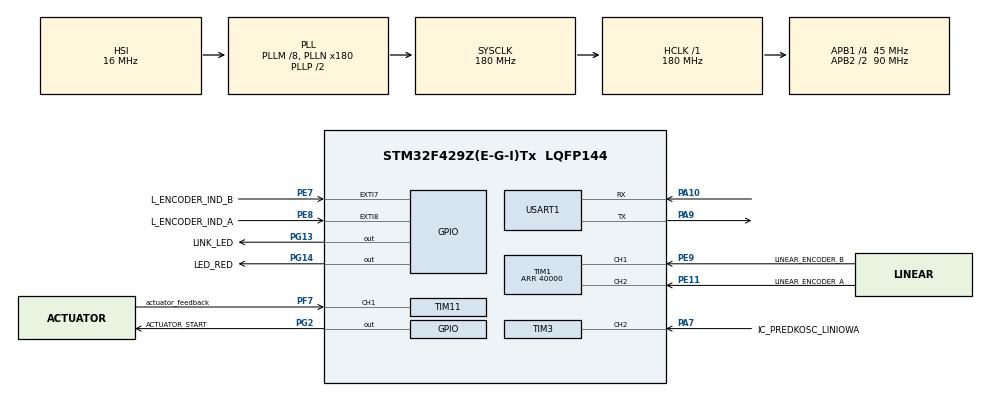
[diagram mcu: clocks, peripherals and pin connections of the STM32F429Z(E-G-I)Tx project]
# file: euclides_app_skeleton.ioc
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Dma.Request0=USART1_TX
Dma.Request1=USART1_RX
Dma.USART1_RX.1.Direction=DMA_PERIPH_TO_MEMORY
Dma.USART1_RX.1.FIFOMode=DMA_FIFOMODE_DISABLE
Dma.USART1_RX.1.Instance=DMA2_Stream2
Dma.USART1_RX.1.MemDataAlignment=DMA_MDATAALIGN_BYTE
Dma.USART1_RX.1.MemInc=DMA_MINC_ENABLE
Dma.USART1_RX.1.Mode=DMA_NORMAL
Dma.USART1_RX.1.PeriphDataAlignment=DMA_PDATAALIGN_BYTE
Dma.USART1_RX.1.PeriphInc=DMA_PINC_DISABLE
Dma.USART1_RX.1.Priority=DMA_PRIORITY_LOW
Dma.USART1_TX.0.Direction=DMA_MEMORY_TO_PERIPH
Dma.USART1_TX.0.FIFOMode=DMA_FIFOMODE_DISABLE
Dma.USART1_TX.0.Instance=DMA2_Stream7
Dma.USART1_TX.0.MemDataAlignment=DMA_MDATAALIGN_BYTE
Dma.USART1_TX.0.MemInc=DMA_MINC_ENABLE
Dma.USART1_TX.0.Mode=DMA_NORMAL
Dma.USART1_TX.0.PeriphDataAlignment=DMA_PDATAALIGN_BYTE
Dma.USART1_TX.0.PeriphInc=DMA_PINC_DISABLE
Dma.USART1_TX.0.Priority=DMA_PRIORITY_LOW
FREERTOS.Tasks01=ModbusTask,0,512,modbus_task,Default,NULL,Dynamic,NULL,NULL;MainApp,0,512,main_app,Default,NULL,Dynamic,NULL,NULL
Mcu.Family=STM32F4
Mcu.Name=STM32F429Z(E-G-I)Tx
Mcu.Package=LQFP144
NVIC.DMA2_Stream2_IRQn=true\:5\:0\:false\:false\:true\:true
NVIC.DMA2_Stream7_IRQn=true\:5\:0\:false\:false\:true\:true
NVIC.EXTI9_5_IRQn=true\:5\:0\:false\:false\:true\:true
NVIC.PriorityGroup=NVIC_PRIORITYGROUP_4
NVIC.TIM1_BRK_TIM9_IRQn=true\:5\:0\:false\:false\:true\:true
NVIC.TIM1_TRG_COM_TIM11_IRQn=true\:5\:0\:false\:false\:true\:true
NVIC.TIM1_UP_TIM10_IRQn=true\:5\:0\:false\:false\:true\:true
NVIC.TIM2_IRQn=true\:5\:0\:false\:false\:true\:true
NVIC.TIM3_IRQn=true\:5\:0\:false\:false\:true\:true
NVIC.TIM5_IRQn=true\:5\:0\:false\:false\:true\:true
NVIC.TIM8_TRG_COM_TIM14_IRQn=true\:0\:0\:false\:false\:true\:false
NVIC.TimeBase=TIM8_TRG_COM_TIM14_IRQn
NVIC.TimeBaseIP=TIM14
NVIC.USART1_IRQn=true\:0\:0\:false\:false\:true\:false
PA10.Mode=Asynchronous
PA10.Signal=USART1_RX
PA7.GPIO_Label=IC_PREDKOSC_LINIOWA
PA7.Signal=S_TIM3_CH2
PA9.Mode=Asynchronous
PA9.Signal=USART1_TX
PE11.GPIO_Label=LINEAR_ENCODER_A
PE11.Signal=S_TIM1_CH2
PE7.GPIO_Label=L_ENCODER_IND_B
PE7.GPIO_ModeDefaultEXTI=GPIO_MODE_IT_RISING_FALLING
PE7.GPIO_PuPd=GPIO_PULLDOWN
PE7.Signal=GPXTI7
PE8.GPIO_Label=L_ENCODER_IND_A
PE8.GPIO_ModeDefaultEXTI=GPIO_MODE_IT_RISING_FALLING
PE8.GPIO_PuPd=GPIO_PULLDOWN
PE8.Signal=GPXTI8
PE9.GPIO_Label=LINEAR_ENCODER_B
PE9.Signal=S_TIM1_CH1
PF7.GPIO_Label=actuator_feedback
PF7.Signal=S_TIM11_CH1
PG13.GPIO_Label=LINK_LED
PG13.Signal=GPIO_Output
PG14.GPIO_Label=LED_RED
PG14.Signal=GPIO_Output
PG2.GPIO_Label=ACTUATOR_START
PG2.Signal=GPIO_Output
PH0/OSC_IN.Mode=HSE-External-Oscillator
PH0/OSC_IN.Signal=RCC_OSC_IN
PH1/OSC_OUT.Mode=HSE-External-Oscillator
PH1/OSC_OUT.Signal=RCC_OSC_OUT
ProjectManager.HeapSize=0x200
ProjectManager.StackSize=0x400
ProjectManager.TargetToolchain=SW4STM32
RCC.48MHZClocksFreq_Value=90000000
RCC.AHBFreq_Value=180000000
RCC.APB1CLKDivider=RCC_HCLK_DIV4
RCC.APB1Freq_Value=45000000
RCC.APB1TimFreq_Value=90000000
RCC.APB2CLKDivider=RCC_HCLK_DIV2
RCC.APB2Freq_Value=90000000
RCC.APB2TimFreq_Value=180000000
RCC.CortexFreq_Value=180000000
RCC.HCLKFreq_Value=180000000
RCC.HSE_VALUE=8000000
RCC.HSI_VALUE=16000000
RCC.LSE_VALUE=32768
RCC.PLLM=8
RCC.PLLN=180
RCC.RCC_RTC_Clock_Source=RCC_RTCCLKSOURCE_LSI
RCC.RCC_RTC_Clock_SourceVirtual=RCC_RTCCLKSOURCE_LSI
RCC.SYSCLKFreq_VALUE=180000000
RCC.SYSCLKSource=RCC_SYSCLKSOURCE_PLLCLK
RCC.VCOOutputFreq_Value=360000000
SH.S_TIM11_CH1.0=TIM11_CH1,Input_Capture1_from_TI1
SH.S_TIM1_CH1.0=TIM1_CH1,Encoder_Interface
SH.S_TIM1_CH2.0=TIM1_CH2,Encoder_Interface
SH.S_TIM3_CH2.0=TIM3_CH2,Input_Capture2_from_TI2
TIM1.EncoderMode=TIM_ENCODERMODE_TI12
TIM1.IC1Filter=15
TIM1.IC2Filter=15
TIM1.Period=40000
TIM10.Period=999
TIM10.Prescaler=359
TIM11.Channel=TIM_CHANNEL_1
TIM11.ICPolarity_CH1=TIM_INPUTCHANNELPOLARITY_BOTHEDGE
TIM11.Period=65535
TIM11.Prescaler=1799
TIM2.Period=3600000000
TIM2.Prescaler=89
TIM3.Channel-Input_Capture2_from_TI2=TIM_CHANNEL_2
TIM3.ICPolarity_CH2=TIM_INPUTCHANNELPOLARITY_BOTHEDGE
TIM3.Period=65535
TIM3.Prescaler=2249
TIM5.ClockDivision=TIM_CLOCKDIVISION_DIV2
TIM5.Prescaler=44999
USART1.VirtualMode=VM_ASYNC
VP_FREERTOS_VS_ENABLE.Mode=Enabled
VP_SYS_VS_tim14.Mode=TIM14
VP_TIM10_VS_ClockSourceINT.Mode=Enable_Timer
VP_TIM11_VS_ClockSourceINT.Mode=Enable_Timer
VP_TIM2_VS_ClockSourceINT.Mode=Internal
VP_TIM3_VS_ClockSourceINT.Mode=Internal
VP_TIM5_VS_ClockSourceINT.Mode=Internal
board=euclides_app_skeleton

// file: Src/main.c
/**
  ******************************************************************************
  * File Name          : main.c
  * Description        : Main program body
  ******************************************************************************
  * This notice applies to any and all portions of this file
  * that are not between comment pairs USER CODE BEGIN and
  * USER CODE END. Other portions of this file, whether
  * inserted by the user or by software development tools
  * are owned by their respective copyright owners.
  *
  * Copyright (c) 2017 STMicroelectronics International N.V.
  * All rights reserved.
  *
  * Redistribution and use in source and binary forms, with or without
  * modification, are permitted, provided that the following conditions are met:
  *
  * 1. Redistribution of source code must retain the above copyright notice,
  *    this list of conditions and the following disclaimer.
  * 2. Redistributions in binary form must reproduce the above copyright notice,
  *    this list of conditions and the following disclaimer in the documentation
  *    and/or other materials provided with the distribution.
  * 3. Neither the name of STMicroelectronics nor the names of other
  *    contributors to this software may be used to endorse or promote products
  *    derived from this software without specific written permission.
  * 4. This software, including modifications and/or derivative works of this
  *    software, must execute solely and exclusively on microcontroller or
  *    microprocessor devices manufactured by or for STMicroelectronics.
  * 5. Redistribution and use of this software other than as permitted under
  *    this license is void and will automatically terminate your rights under
  *    this license.
  *
  * THIS SOFTWARE IS PROVIDED BY STMICROELECTRONICS AND CONTRIBUTORS "AS IS"
  * AND ANY EXPRESS, IMPLIED OR STATUTORY WARRANTIES, INCLUDING, BUT NOT
  * LIMITED TO, THE IMPLIED WARRANTIES OF MERCHANTABILITY, FITNESS FOR A
  * PARTICULAR PURPOSE AND NON-INFRINGEMENT OF THIRD PARTY INTELLECTUAL PROPERTY
  * RIGHTS ARE DISCLAIMED TO THE FULLEST EXTENT PERMITTED BY LAW. IN NO EVENT
  * SHALL STMICROELECTRONICS OR CONTRIBUTORS BE LIABLE FOR ANY DIRECT, INDIRECT,
  * INCIDENTAL, SPECIAL, EXEMPLARY, OR CONSEQUENTIAL DAMAGES (INCLUDING, BUT NOT
  * LIMITED TO, PROCUREMENT OF SUBSTITUTE GOODS OR SERVICES; LOSS OF USE, DATA,
  * OR PROFITS; OR BUSINESS INTERRUPTION) HOWEVER CAUSED AND ON ANY THEORY OF
  * LIABILITY, WHETHER IN CONTRACT, STRICT LIABILITY, OR TORT (INCLUDING
  * NEGLIGENCE OR OTHERWISE) ARISING IN ANY WAY OUT OF THE USE OF THIS SOFTWARE,
  * EVEN IF ADVISED OF THE POSSIBILITY OF SUCH DAMAGE.
  *
  ******************************************************************************
  */
#include "main.h"
#include "stm32f4xx_hal.h"
#include "cmsis_os.h"

/* USER CODE BEGIN Includes */
#include "modbus.h"
#include "modbus_app.h"
#include "euclides.h"
#include "config.h"
#include "SEGGER_SYSVIEW.h"
/* USER CODE END Includes */

TIM_HandleTypeDef htim1;
TIM_HandleTypeDef htim2;
TIM_HandleTypeDef htim3;
TIM_HandleTypeDef htim5;
TIM_HandleTypeDef htim10;
TIM_HandleTypeDef htim11;

UART_HandleTypeDef huart1;
DMA_HandleTypeDef hdma_usart1_tx;
DMA_HandleTypeDef hdma_usart1_rx;

osThreadId ModbusTaskHandle;
osThreadId MainAppHandle;

/* USER CODE BEGIN PV */
/* Private variables ---------------------------------------------------------*/
/* Debug tasks status variables */
osThreadState modbus_task_state;
osThreadState main_app_task_state;
osThreadState curtain_task_state;
osThreadState safety_switch_task_state;
osThreadState config_task_state;

static const modbus_callbacks_t modbus_cb = {
        .data_to_master = app_data_to_master,
		.data_from_master = app_data_from_master,
		.set_coils_by_master = app_set_coils_by_master
};
/* USER CODE END PV */

void SystemClock_Config(void);
static void MX_GPIO_Init(void);
static void MX_DMA_Init(void);
static void MX_USART1_UART_Init(void);
static void MX_TIM10_Init(void);
static void MX_TIM1_Init(void);
static void MX_TIM3_Init(void);
static void MX_TIM11_Init(void);
static void MX_TIM2_Init(void);
static void MX_TIM5_Init(void);
void modbus_task(void const * argument);
void main_app(void const * argument);

/* USER CODE BEGIN PFP */

/* Private function prototypes -----------------------------------------------*/

/* USER CODE END PFP */

int main(void)
{

  /* USER CODE BEGIN 1 */
  modbus_init(&modbus_cb);
  /* USER CODE END 1 */

  /* MCU Configuration----------------------------------------------------------*/

  /* Reset of all peripherals, Initializes the Flash interface and the Systick. */
  HAL_Init();

  /* USER CODE BEGIN Init */
  /* Default parameters initialization */
  time_overflow_cnf = 3000;
  /* USER CODE END Init */

  /* Configure the system clock */
  SystemClock_Config();

  /* Initialize all configured peripherals */
  MX_GPIO_Init();
  MX_DMA_Init();
  MX_USART1_UART_Init();
  MX_TIM10_Init();
  MX_TIM1_Init();
  MX_TIM3_Init();
  MX_TIM11_Init();
  MX_TIM2_Init();
  MX_TIM5_Init();

  /* USER CODE BEGIN 2 */

  /* Disable EXTI interrupt which were enable in MX_GPIO_Init() */
  HAL_NVIC_DisableIRQ(EXTI9_5_IRQn);
  HAL_UART_Receive_DMA(&huart1, &data_in_item, 1);
  /* USER CODE END 2 */

  /* USER CODE BEGIN RTOS_SEMAPHORES */
  /* add semaphores, ... */
  osSemaphoreDef(DataReadyRx);
  DataReadyRxHandle = osSemaphoreCreate(osSemaphore(DataReadyRx), 1);
  /* USER CODE END RTOS_SEMAPHORES */

  /* Create the thread(s) */
  /* definition and creation of ModbusTask */
  osThreadDef(ModbusTask, modbus_task, osPriorityNormal, 0, 512);
  ModbusTaskHandle = osThreadCreate(osThread(ModbusTask), NULL);

  /* definition and creation of MainApp */
  osThreadDef(MainApp, main_app, osPriorityNormal, 0, 512);
  MainAppHandle = osThreadCreate(osThread(MainApp), NULL);

  /* USER CODE BEGIN RTOS_THREADS */
  /* add threads, ... */
  /* Working tasks */
  osThreadDef(ConfigTask, config_task, osPriorityNormal, 0, 512);
  config_task_handle = osThreadCreate(osThread(ConfigTask), NULL);
  osThreadSuspend (config_task_handle);
  working_tasks_list[0] = config_task_handle;

  osThreadDef(SafetySwitchTask, safety_switch_task, osPriorityNormal, 0, 512);
  safety_switch_task_handle = osThreadCreate(osThread(SafetySwitchTask), NULL);
  osThreadSuspend (safety_switch_task_handle);
  working_tasks_list[1] = safety_switch_task_handle;

  osThreadDef(CurtainTask, curtain_task, osPriorityNormal, 0, 512);
  curtain_task_handle = osThreadCreate(osThread(CurtainTask), NULL);
  osThreadSuspend (curtain_task_handle);
  working_tasks_list[2] = curtain_task_handle;
  /* USER CODE END RTOS_THREADS */

  /* Start scheduler */
  osKernelStart();

  /* We should never get here as control is now taken by the scheduler */

  /* Infinite loop */
  while (1)
  {

  }

}

/** System Clock Configuration
*/
void SystemClock_Config(void)
{

  RCC_OscInitTypeDef RCC_OscInitStruct;
  RCC_ClkInitTypeDef RCC_ClkInitStruct;
  RCC_PeriphCLKInitTypeDef PeriphClkInitStruct;

    /**Configure the main internal regulator output voltage
    */
  __HAL_RCC_PWR_CLK_ENABLE();

  __HAL_PWR_VOLTAGESCALING_CONFIG(PWR_REGULATOR_VOLTAGE_SCALE1);

    /**Initializes the CPU, AHB and APB busses clocks
    */
  RCC_OscInitStruct.OscillatorType = RCC_OSCILLATORTYPE_HSI|RCC_OSCILLATORTYPE_HSE;
  RCC_OscInitStruct.HSEState = RCC_HSE_ON;
  RCC_OscInitStruct.HSIState = RCC_HSI_ON;
  RCC_OscInitStruct.HSICalibrationValue = 16;
  RCC_OscInitStruct.PLL.PLLState = RCC_PLL_ON;
  RCC_OscInitStruct.PLL.PLLSource = RCC_PLLSOURCE_HSI;
  RCC_OscInitStruct.PLL.PLLM = 8;
  RCC_OscInitStruct.PLL.PLLN = 180;
  RCC_OscInitStruct.PLL.PLLP = RCC_PLLP_DIV2;
  RCC_OscInitStruct.PLL.PLLQ = 4;
  if (HAL_RCC_OscConfig(&RCC_OscInitStruct) != HAL_OK)
  {
    _Error_Handler(__FILE__, __LINE__);
  }

    /**Activate the Over-Drive mode
    */
  if (HAL_PWREx_EnableOverDrive() != HAL_OK)
  {
    _Error_Handler(__FILE__, __LINE__);
  }

    /**Initializes the CPU, AHB and APB busses clocks
    */
  RCC_ClkInitStruct.ClockType = RCC_CLOCKTYPE_HCLK|RCC_CLOCKTYPE_SYSCLK
                              |RCC_CLOCKTYPE_PCLK1|RCC_CLOCKTYPE_PCLK2;
  RCC_ClkInitStruct.SYSCLKSource = RCC_SYSCLKSOURCE_PLLCLK;
  RCC_ClkInitStruct.AHBCLKDivider = RCC_SYSCLK_DIV1;
  RCC_ClkInitStruct.APB1CLKDivider = RCC_HCLK_DIV4;
  RCC_ClkInitStruct.APB2CLKDivider = RCC_HCLK_DIV2;

  if (HAL_RCC_ClockConfig(&RCC_ClkInitStruct, FLASH_LATENCY_5) != HAL_OK)
  {
    _Error_Handler(__FILE__, __LINE__);
  }

  PeriphClkInitStruct.PeriphClockSelection = RCC_PERIPHCLK_RTC;
  PeriphClkInitStruct.RTCClockSelection = RCC_RTCCLKSOURCE_LSI;
  if (HAL_RCCEx_PeriphCLKConfig(&PeriphClkInitStruct) != HAL_OK)
  {
    _Error_Handler(__FILE__, __LINE__);
  }

    /**Configure the Systick interrupt time
    */
  HAL_SYSTICK_Config(HAL_RCC_GetHCLKFreq()/1000);

    /**Configure the Systick
    */
  HAL_SYSTICK_CLKSourceConfig(SYSTICK_CLKSOURCE_HCLK);

  /* SysTick_IRQn interrupt configuration */
  HAL_NVIC_SetPriority(SysTick_IRQn, 15, 0);
}

/* TIM1 init function */
static void MX_TIM1_Init(void)
{

  TIM_Encoder_InitTypeDef sConfig;
  TIM_MasterConfigTypeDef sMasterConfig;

  htim1.Instance = TIM1;
  htim1.Init.Prescaler = 0;
  htim1.Init.CounterMode = TIM_COUNTERMODE_UP;
  htim1.Init.Period = 40000;
  htim1.Init.ClockDivision = TIM_CLOCKDIVISION_DIV1;
  htim1.Init.RepetitionCounter = 0;
  sConfig.EncoderMode = TIM_ENCODERMODE_TI12;
  sConfig.IC1Polarity = TIM_ICPOLARITY_RISING;
  sConfig.IC1Selection = TIM_ICSELECTION_DIRECTTI;
  sConfig.IC1Prescaler = TIM_ICPSC_DIV1;
  sConfig.IC1Filter = 15;
  sConfig.IC2Polarity = TIM_ICPOLARITY_RISING;
  sConfig.IC2Selection = TIM_ICSELECTION_DIRECTTI;
  sConfig.IC2Prescaler = TIM_ICPSC_DIV1;
  sConfig.IC2Filter = 15;
  if (HAL_TIM_Encoder_Init(&htim1, &sConfig) != HAL_OK)
  {
    _Error_Handler(__FILE__, __LINE__);
  }

  sMasterConfig.MasterOutputTrigger = TIM_TRGO_RESET;
  sMasterConfig.MasterSlaveMode = TIM_MASTERSLAVEMODE_DISABLE;
  if (HAL_TIMEx_MasterConfigSynchronization(&htim1, &sMasterConfig) != HAL_OK)
  {
    _Error_Handler(__FILE__, __LINE__);
  }

}

/* TIM2 init function */
static void MX_TIM2_Init(void)
{

  TIM_ClockConfigTypeDef sClockSourceConfig;
  TIM_MasterConfigTypeDef sMasterConfig;

  htim2.Instance = TIM2;
  htim2.Init.Prescaler = 89;
  htim2.Init.CounterMode = TIM_COUNTERMODE_UP;
  htim2.Init.Period = 3600000000;
  htim2.Init.ClockDivision = TIM_CLOCKDIVISION_DIV1;
  if (HAL_TIM_Base_Init(&htim2) != HAL_OK)
  {
    _Error_Handler(__FILE__, __LINE__);
  }

  sClockSourceConfig.ClockSource = TIM_CLOCKSOURCE_INTERNAL;
  if (HAL_TIM_ConfigClockSource(&htim2, &sClockSourceConfig) != HAL_OK)
  {
    _Error_Handler(__FILE__, __LINE__);
  }

  sMasterConfig.MasterOutputTrigger = TIM_TRGO_RESET;
  sMasterConfig.MasterSlaveMode = TIM_MASTERSLAVEMODE_DISABLE;
  if (HAL_TIMEx_MasterConfigSynchronization(&htim2, &sMasterConfig) != HAL_OK)
  {
    _Error_Handler(__FILE__, __LINE__);
  }

}

/* TIM3 init function */
static void MX_TIM3_Init(void)
{

  TIM_ClockConfigTypeDef sClockSourceConfig;
  TIM_MasterConfigTypeDef sMasterConfig;
  TIM_IC_InitTypeDef sConfigIC;

  htim3.Instance = TIM3;
  htim3.Init.Prescaler = 2249;
  htim3.Init.CounterMode = TIM_COUNTERMODE_UP;
  htim3.Init.Period = 65535;
  htim3.Init.ClockDivision = TIM_CLOCKDIVISION_DIV1;
  if (HAL_TIM_Base_Init(&htim3) != HAL_OK)
  {
    _Error_Handler(__FILE__, __LINE__);
  }

  sClockSourceConfig.ClockSource = TIM_CLOCKSOURCE_INTERNAL;
  if (HAL_TIM_ConfigClockSource(&htim3, &sClockSourceConfig) != HAL_OK)
  {
    _Error_Handler(__FILE__, __LINE__);
  }

  if (HAL_TIM_IC_Init(&htim3) != HAL_OK)
  {
    _Error_Handler(__FILE__, __LINE__);
  }

  sMasterConfig.MasterOutputTrigger = TIM_TRGO_RESET;
  sMasterConfig.MasterSlaveMode = TIM_MASTERSLAVEMODE_DISABLE;
  if (HAL_TIMEx_MasterConfigSynchronization(&htim3, &sMasterConfig) != HAL_OK)
  {
    _Error_Handler(__FILE__, __LINE__);
  }

  sConfigIC.ICPolarity = TIM_INPUTCHANNELPOLARITY_BOTHEDGE;
  sConfigIC.ICSelection = TIM_ICSELECTION_DIRECTTI;
  sConfigIC.ICPrescaler = TIM_ICPSC_DIV1;
  sConfigIC.ICFilter = 0;
  if (HAL_TIM_IC_ConfigChannel(&htim3, &sConfigIC, TIM_CHANNEL_2) != HAL_OK)
  {
    _Error_Handler(__FILE__, __LINE__);
  }

}

/* TIM5 init function */
static void MX_TIM5_Init(void)
{

  TIM_ClockConfigTypeDef sClockSourceConfig;
  TIM_MasterConfigTypeDef sMasterConfig;

  htim5.Instance = TIM5;
  htim5.Init.Prescaler = 44999;
  htim5.Init.CounterMode = TIM_COUNTERMODE_UP;
  htim5.Init.Period = 0;
  htim5.Init.ClockDivision = TIM_CLOCKDIVISION_DIV2;
  if (HAL_TIM_Base_Init(&htim5) != HAL_OK)
  {
    _Error_Handler(__FILE__, __LINE__);
  }

  sClockSourceConfig.ClockSource = TIM_CLOCKSOURCE_INTERNAL;
  if (HAL_TIM_ConfigClockSource(&htim5, &sClockSourceConfig) != HAL_OK)
  {
    _Error_Handler(__FILE__, __LINE__);
  }

  sMasterConfig.MasterOutputTrigger = TIM_TRGO_RESET;
  sMasterConfig.MasterSlaveMode = TIM_MASTERSLAVEMODE_DISABLE;
  if (HAL_TIMEx_MasterConfigSynchronization(&htim5, &sMasterConfig) != HAL_OK)
  {
    _Error_Handler(__FILE__, __LINE__);
  }

}

/* TIM10 init function */
static void MX_TIM10_Init(void)
{

  htim10.Instance = TIM10;
  htim10.Init.Prescaler = 359;
  htim10.Init.CounterMode = TIM_COUNTERMODE_UP;
  htim10.Init.Period = 999;
  htim10.Init.ClockDivision = TIM_CLOCKDIVISION_DIV1;
  if (HAL_TIM_Base_Init(&htim10) != HAL_OK)
  {
    _Error_Handler(__FILE__, __LINE__);
  }

}

/* TIM11 init function */
static void MX_TIM11_Init(void)
{

  TIM_IC_InitTypeDef sConfigIC;

  htim11.Instance = TIM11;
  htim11.Init.Prescaler = 1799;
  htim11.Init.CounterMode = TIM_COUNTERMODE_UP;
  htim11.Init.Period = 65535;
  htim11.Init.ClockDivision = TIM_CLOCKDIVISION_DIV1;
  if (HAL_TIM_Base_Init(&htim11) != HAL_OK)
  {
    _Error_Handler(__FILE__, __LINE__);
  }

  if (HAL_TIM_IC_Init(&htim11) != HAL_OK)
  {
    _Error_Handler(__FILE__, __LINE__);
  }

  sConfigIC.ICPolarity = TIM_INPUTCHANNELPOLARITY_BOTHEDGE;
  sConfigIC.ICSelection = TIM_ICSELECTION_DIRECTTI;
  sConfigIC.ICPrescaler = TIM_ICPSC_DIV1;
  sConfigIC.ICFilter = 0;
  if (HAL_TIM_IC_ConfigChannel(&htim11, &sConfigIC, TIM_CHANNEL_1) != HAL_OK)
  {
    _Error_Handler(__FILE__, __LINE__);
  }

}

/* USART1 init function */
static void MX_USART1_UART_Init(void)
{

  huart1.Instance = USART1;
  huart1.Init.BaudRate = 115200;
  huart1.Init.WordLength = UART_WORDLENGTH_8B;
  huart1.Init.StopBits = UART_STOPBITS_1;
  huart1.Init.Parity = UART_PARITY_NONE;
  huart1.Init.Mode = UART_MODE_TX_RX;
  huart1.Init.HwFlowCtl = UART_HWCONTROL_NONE;
  huart1.Init.OverSampling = UART_OVERSAMPLING_16;
  if (HAL_UART_Init(&huart1) != HAL_OK)
  {
    _Error_Handler(__FILE__, __LINE__);
  }

}

static void MX_DMA_Init(void)
{
  /* DMA controller clock enable */
  __HAL_RCC_DMA2_CLK_ENABLE();

  /* DMA interrupt init */
  /* DMA2_Stream2_IRQn interrupt configuration */
  HAL_NVIC_SetPriority(DMA2_Stream2_IRQn, 5, 0);
  HAL_NVIC_EnableIRQ(DMA2_Stream2_IRQn);
  /* DMA2_Stream7_IRQn interrupt configuration */
  HAL_NVIC_SetPriority(DMA2_Stream7_IRQn, 5, 0);
  HAL_NVIC_EnableIRQ(DMA2_Stream7_IRQn);

}

/** Configure pins as
        * Analog
        * Input
        * Output
        * EVENT_OUT
        * EXTI
*/
static void MX_GPIO_Init(void)
{

  GPIO_InitTypeDef GPIO_InitStruct;

  /* GPIO Ports Clock Enable */
  __HAL_RCC_GPIOF_CLK_ENABLE();
  __HAL_RCC_GPIOH_CLK_ENABLE();
  __HAL_RCC_GPIOA_CLK_ENABLE();
  __HAL_RCC_GPIOE_CLK_ENABLE();
  __HAL_RCC_GPIOG_CLK_ENABLE();

  /*Configure GPIO pin Output Level */
  HAL_GPIO_WritePin(GPIOG, ACTUATOR_START_Pin|LINK_LED_Pin|LED_RED_Pin, GPIO_PIN_RESET);

  /*Configure GPIO pins : L_ENCODER_IND_B_Pin L_ENCODER_IND_A_Pin */
  GPIO_InitStruct.Pin = L_ENCODER_IND_B_Pin|L_ENCODER_IND_A_Pin;
  GPIO_InitStruct.Mode = GPIO_MODE_IT_RISING_FALLING;
  GPIO_InitStruct.Pull = GPIO_PULLDOWN;
  HAL_GPIO_Init(GPIOE, &GPIO_InitStruct);

  /*Configure GPIO pins : ACTUATOR_START_Pin LINK_LED_Pin LED_RED_Pin */
  GPIO_InitStruct.Pin = ACTUATOR_START_Pin|LINK_LED_Pin|LED_RED_Pin;
  GPIO_InitStruct.Mode = GPIO_MODE_OUTPUT_PP;
  GPIO_InitStruct.Pull = GPIO_NOPULL;
  GPIO_InitStruct.Speed = GPIO_SPEED_FREQ_LOW;
  HAL_GPIO_Init(GPIOG, &GPIO_InitStruct);

  /* EXTI interrupt init*/
  HAL_NVIC_SetPriority(EXTI9_5_IRQn, 5, 0);
  HAL_NVIC_EnableIRQ(EXTI9_5_IRQn);

}

/* modbus_task function */
void modbus_task(void const * argument)
{

  /* USER CODE BEGIN 5 */
  /* Infinite loop */
  for(;;)
  {
	  send_modbus_message(&huart1);
  }
  /* USER CODE END 5 */
}

/* main_app function */
void main_app(void const * argument)
{
  /* USER CODE BEGIN main_app */
  /* Infinite loop */
  for(;;)
  {
        /* FIXME: Please implement some mechanism which put task to block state e.g. delay for 1 ms */
	    /* FIXME: Implement in every tasks: vTaskDelete(NULL) beyond of infinitive loop */

        main_app_task_state = osThreadGetState(MainAppHandle);
        modbus_task_state = osThreadGetState(ModbusTaskHandle);
        config_task_state = osThreadGetState(config_task_handle);
        safety_switch_task_state = osThreadGetState(safety_switch_task_handle);
        curtain_task_state = osThreadGetState(curtain_task_handle);

        switch (set_coils_by_master[momentary_sw_g1]) {
                case SW1_G1_GO_TO_CONFIG:
                        KeepOnlyThisTask(config_task_handle);
                        osThreadResume (config_task_handle);
                        SET_STATUS_G1(ST_G1_CONFIGURATION);
                        RST_BUTTON_G1(SW1_G1_GO_TO_CONFIG);
                        break;

                case SW2_G1_GO_TO_CURTAIN:
                        KeepOnlyThisTask(curtain_task_handle);
                        osThreadResume (curtain_task_handle);
                        SET_STATUS_G1(ST_G1_CURTAIN);
                        RST_BUTTON_G1(SW2_G1_GO_TO_CURTAIN);
                        break;

                case SW3_G1_GO_TO_SAFETY_SWITCH:
                        KeepOnlyThisTask(safety_switch_task_handle);
                        osThreadResume (safety_switch_task_handle);
                        SET_STATUS_G1(ST_G1_SAFETY_SWITCH);
                        RST_BUTTON_G1(SW3_G1_GO_TO_SAFETY_SWITCH);
                        break;
        }

        /* Suspend task for 100 ms - user can't change option faster than 100 ms */
        osDelay(100);
  }
  /* USER CODE END main_app */
}

void HAL_TIM_PeriodElapsedCallback(TIM_HandleTypeDef *htim)
{
/* USER CODE BEGIN Callback 0 */
        /*
        * 10 bits for charakter
        * 19200 / 10 = 1920 characters per 1000 ms
        * 1000 ms / 1920 = 0,52 ms on character
        * 3.5 * 0,52 ms = 1.82 ms ~ 2 ms
        */
        if (htim->Instance == TIM10) {
                modbus_timeout = true;
                HAL_GPIO_WritePin(LINK_LED_GPIO_Port, LINK_LED_Pin, GPIO_PIN_RESET);
                HAL_TIM_Base_Stop_IT(&htim10);
        }

  	    /* TIM2 is a 32 bit timer (resolution 1 us) this interrupt is a protect from timer overflow - after 1 h */
        if (htim->Instance == TIM2) {

        }

/* USER CODE END Callback 0 */
  if (htim->Instance == TIM14) {
    HAL_IncTick();
  }
}

void _Error_Handler(char * file, int line)
{
  while(1)
  {
  }
}

/************************ (C) COPYRIGHT STMicroelectronics *****END OF FILE****/
